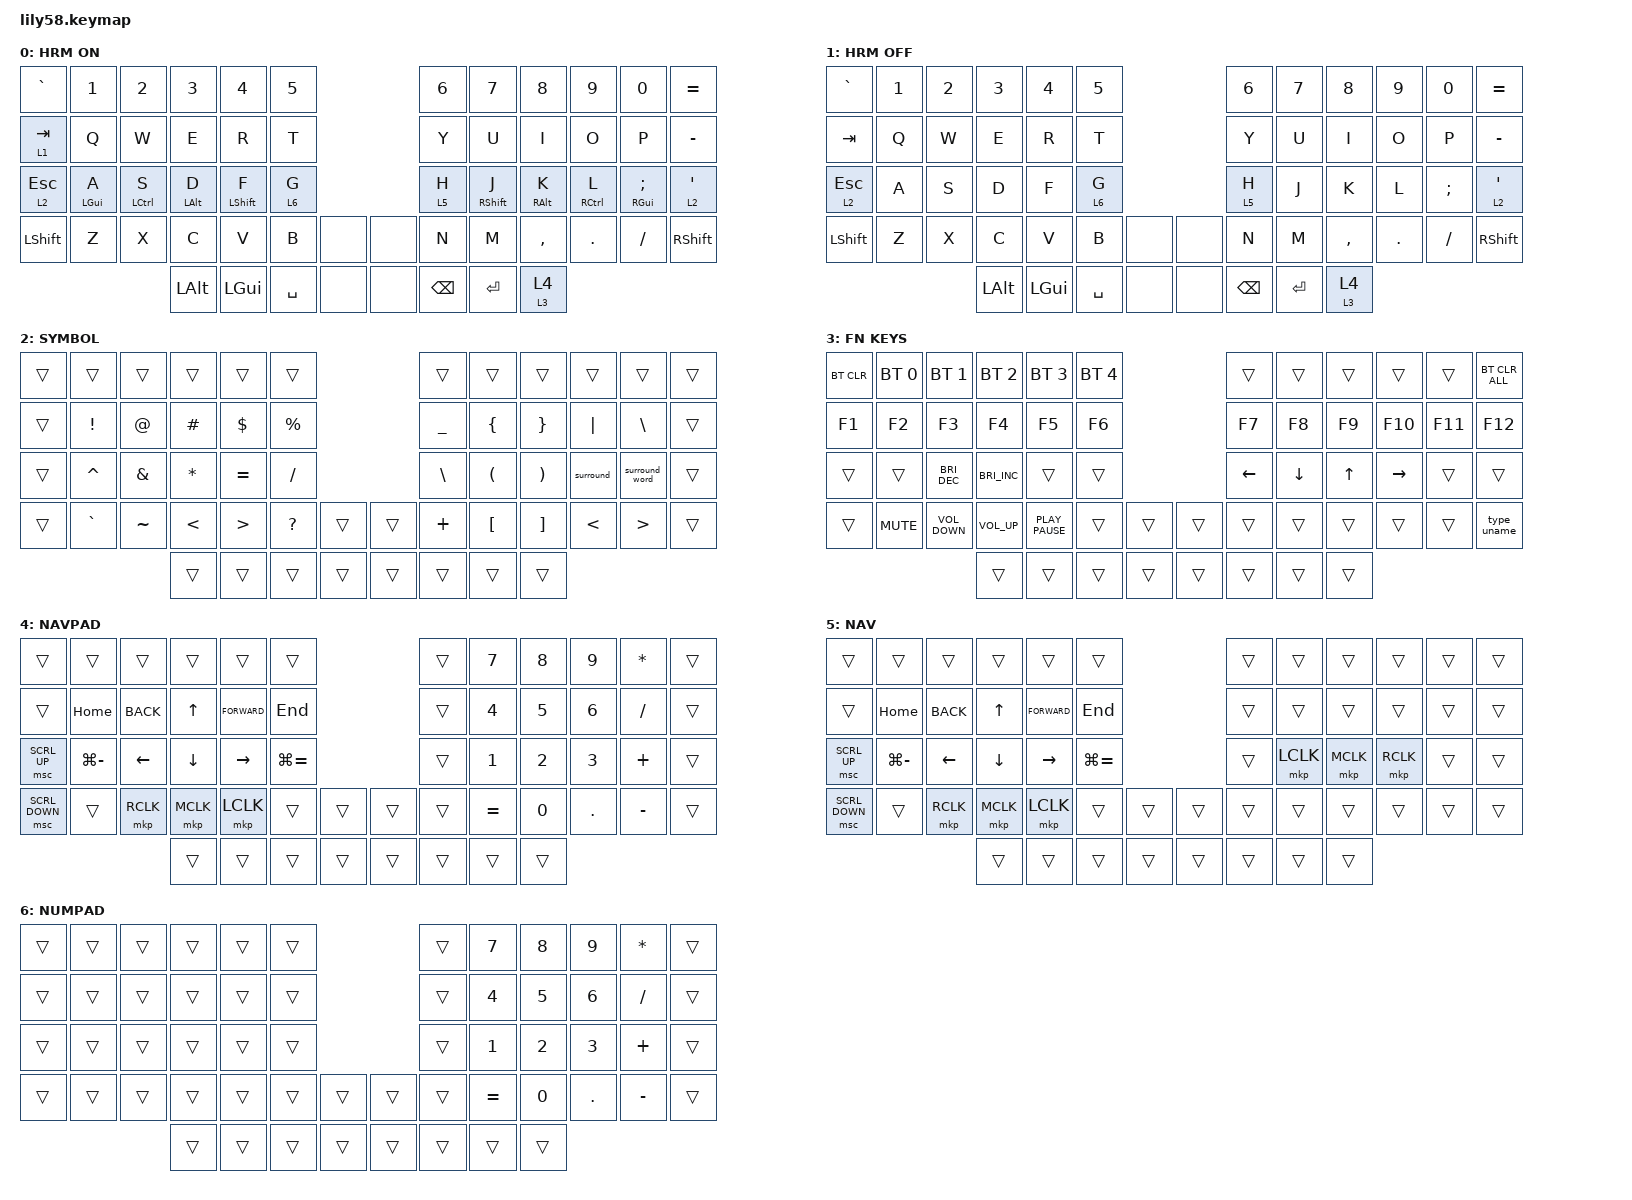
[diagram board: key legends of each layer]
/*
 * Copyright (c) 2020 The ZMK Contributors
 *
 * SPDX-License-Identifier: MIT
 */

#include <behaviors.dtsi>
#include <dt-bindings/zmk/bt.h>
#include <dt-bindings/zmk/keys.h>
#include <dt-bindings/zmk/pointing.h>

&mt {
    tapping-term-ms = <200>;
    flavor = "tap-preferred";
};

/ {
    combos {
        compatible = "zmk,combos";

        HRM_OFF {
            bindings = <&to 1>;
            key-positions = <28 31>;
            layers = <0>;
        };

        HRM_ON {
            bindings = <&to 0>;
            key-positions = <28 31>;
            layers = <1>;
        };
    };

    behaviors {
        hold_tap_mo_to: hold_tap_mo_to {
            compatible = "zmk,behavior-hold-tap";
            label = "HOLD_TAP_MO_TO";
            bindings = <&mo>, <&to>;

            #binding-cells = <2>;
            tapping-term-ms = <150>;
        };

        hold_tap_mo_kp: hold_tap_mo_kp {
            compatible = "zmk,behavior-hold-tap";
            label = "HOLD_TAP_MO_KP";
            bindings = <&mo>, <&kp>;

            #binding-cells = <2>;
            tapping-term-ms = <200>;
            flavor = "tap-preferred";
        };

        hold_tap_mo_tog: hold_tap_mo_tog {
            compatible = "zmk,behavior-hold-tap";
            label = "HOLD_TAP_MO_TOG";
            bindings = <&mo>, <&tog>;

            #binding-cells = <2>;
            tapping-term-ms = <150>;
        };
    };

    macros {
        type_uname: type_uname {
            compatible = "zmk,behavior-macro";
            #binding-cells = <0>;
            bindings = <&kp O &kp T &kp I &kp S &kp MINUS &kp D &kp E &kp L &kp A &kp R &kp G &kp E>;
            label = "TYPE_UNAME";
        };

        surround: surround {
            compatible = "zmk,behavior-macro";
            #binding-cells = <0>;
            bindings = <&kp S &kp A>;
            label = "SURROUND";
        };

        surround_word: surround_word {
            compatible = "zmk,behavior-macro";
            #binding-cells = <0>;
            bindings = <&kp S &kp A &kp I &kp W>;
            label = "SURROUND_WORD";
        };
    };

    keymap {
        compatible = "zmk,keymap";

        base {
            // ------------------------------------------------------------------------------------------------------------
            // |  ESC  |  1  |  2  |  3   |  4   |  5   |                   |  6   |  7    |  8    |  9   |   0   |   `   |
            // |  TAB  |  Q  |  W  |  E   |  R   |  T   |                   |  Y   |  U    |  I    |  O   |   P   |   -   |
            // |  CTRL |  A  |  S  |  D   |  F   |  G   |                   |  H   |  J    |  K    |  L   |   ;   |   '   |
            // | SHIFT |  Z  |  X  |  C   |  V   |  B   |   "["  |  |  "]"  |  N   |  M    |  ,    |  .   |   /   | SHIFT |
            //                     | ALT  | GUI  | LOWER|  SPACE |  | ENTER | RAISE| BSPC  | GUI   |

            display-name = "HRM ON";
            bindings = <
&kp GRAVE              &kp N1          &kp N2       &kp N3          &kp N4            &kp N5                               &kp N6               &kp N7             &kp N8                &kp N9       &kp N0                   &kp EQUAL
&hold_tap_mo_kp 1 TAB  &kp Q           &kp W        &kp E           &kp R             &kp T                                &kp Y                &kp U              &kp I                 &kp O        &kp P                    &kp MINUS
&hold_tap_mo_kp 2 ESC  &mt LEFT_GUI A  &mt LCTRL S  &mt LEFT_ALT D  &mt LEFT_SHIFT F  &hold_tap_mo_kp 6 G                  &hold_tap_mo_kp 5 H  &mt RIGHT_SHIFT J  &mt RIGHT_ALT K       &mt RCTRL L  &mt RIGHT_GUI SEMICOLON  &hold_tap_mo_kp 2 SQT
&kp LSHFT              &kp Z           &kp X        &kp C           &kp V             &kp B                &none    &none  &kp N                &kp M              &kp COMMA             &kp DOT      &kp FSLH                 &kp RSHFT
                                                    &kp LALT        &kp LGUI          &kp SPACE            &none    &none  &kp BACKSPACE        &kp ENTER          &hold_tap_mo_tog 3 4
            >;
        };

        hrm_off {
            display-name = "HRM OFF";
            bindings = <
&kp GRAVE              &kp N1  &kp N2  &kp N3    &kp N4    &kp N5                               &kp N6               &kp N7     &kp N8                &kp N9   &kp N0    &kp EQUAL
&kp TAB                &kp Q   &kp W   &kp E     &kp R     &kp T                                &kp Y                &kp U      &kp I                 &kp O    &kp P     &kp MINUS
&hold_tap_mo_kp 2 ESC  &kp A   &kp S   &kp D     &kp F     &hold_tap_mo_kp 6 G                  &hold_tap_mo_kp 5 H  &kp J      &kp K                 &kp L    &kp SEMI  &hold_tap_mo_kp 2 SQT
&kp LSHFT              &kp Z   &kp X   &kp C     &kp V     &kp B                &none    &none  &kp N                &kp M      &kp COMMA             &kp DOT  &kp FSLH  &kp RSHFT
                                       &kp LALT  &kp LGUI  &kp SPACE            &none    &none  &kp BACKSPACE        &kp ENTER  &hold_tap_mo_tog 3 4
            >;
        };

        symbols {
            bindings = <
&trans  &trans           &trans         &trans         &trans            &trans                          &trans          &trans                &trans                 &trans         &trans            &trans
&trans  &kp EXCLAMATION  &kp AT_SIGN    &kp HASH       &kp DOLLAR        &kp PERCENT                     &kp UNDERSCORE  &kp LEFT_BRACE        &kp RIGHT_BRACE        &kp PIPE       &kp BACKSLASH     &trans
&trans  &kp CARET        &kp AMPERSAND  &kp ASTERISK   &kp EQUAL         &kp SLASH                       &kp BACKSLASH   &kp LEFT_PARENTHESIS  &kp RIGHT_PARENTHESIS  &surround      &surround_word    &trans
&trans  &kp GRAVE        &kp TILDE      &kp LESS_THAN  &kp GREATER_THAN  &kp QUESTION  &trans    &trans  &kp PLUS        &kp LEFT_BRACKET      &kp RIGHT_BRACKET      &kp LESS_THAN  &kp GREATER_THAN  &trans
                                        &trans         &trans            &trans        &trans    &trans  &trans          &trans                &trans
            >;

            label = "SYMBOL";
        };

        fn_keys {
            // ------------------------------------------------------------------------------------------------------------
            // | BTCLR | BT1 | BT2 |  BT3 |  BT4 |  BT5 |                   |      |       |       |      |       |       |
            // |  F1   |  F2 |  F3 |  F4  |  F5  |  F6  |                   |  F7  |  F8   |  F9   |  F10 |  F11  |  F12  |
            // |   `   |  !  |  @  |  #   |  $   |  %   |                   |  ^   |  &    |  *    |  (   |   )   |   ~   |
            // |       |     |     |      |      |      |        |  |       |      |  _    |  +    |  {   |   }   |  "|"  |
            //                     |      |      |      |        |  |       |      |       |       |

            display-name = "FN KEYS";
            bindings = <
&bt BT_CLR  &bt BT_SEL 0  &bt BT_SEL 1          &bt BT_SEL 2          &bt BT_SEL 3      &bt BT_SEL 4                    &trans          &trans          &trans        &trans           &trans   &bt BT_CLR_ALL
&kp F1      &kp F2        &kp F3                &kp F4                &kp F5            &kp F6                          &kp F7          &kp F8          &kp F9        &kp F10          &kp F11  &kp F12
&trans      &trans        &kp C_BRIGHTNESS_DEC  &kp C_BRIGHTNESS_INC  &trans            &trans                          &kp LEFT_ARROW  &kp DOWN_ARROW  &kp UP_ARROW  &kp RIGHT_ARROW  &trans   &trans
&trans      &kp K_MUTE    &kp K_VOLUME_DOWN     &kp K_VOLUME_UP       &kp K_PLAY_PAUSE  &trans        &trans    &trans  &trans          &trans          &trans        &trans           &trans   &type_uname
                                                &trans                &trans            &trans        &trans    &trans  &trans          &trans          &trans
            >;
        };

        nav_pad {
            // ------------------------------------------------------------------------------------------------------------
            // |       |     |     |      |      |      |                   |      |       |       |      |       |       |
            // |   `   |  1  |  2  |  3   |  4   |  5   |                   |  6   |   7   |   8   |  9   |   0   |       |
            // |   F1  |  F2 |  F3 |  F4  |  F5  |  F6  |                   |      |   <-  |   v   |  ^   |  ->   |       |
            // |   F7  |  F8 |  F9 |  F10 |  F11 |  F12 |        |  |       |  +   |   -   |   =   |  [   |   ]   |   \   |
            //                     |      |      |      |        |  |       |      |       |       |

            display-name = "NAVPAD";
            bindings = <
&trans          &trans         &trans          &trans          &trans           &trans                           &trans  &kp N7     &kp N8        &kp N9      &kp ASTERISK  &trans
&trans          &kp HOME       &kp K_BACK      &kp UP_ARROW    &kp K_FORWARD    &kp END                          &trans  &kp N4     &kp N5        &kp N6      &kp SLASH     &trans
&msc SCRL_UP    &kp LG(MINUS)  &kp LEFT_ARROW  &kp DOWN_ARROW  &kp RIGHT_ARROW  &kp LG(EQUAL)                    &trans  &kp N1     &kp N2        &kp N3      &kp PLUS      &trans
&msc SCRL_DOWN  &trans         &mkp RCLK       &mkp MCLK       &mkp LCLK        &trans         &trans    &trans  &trans  &kp EQUAL  &kp NUMBER_0  &kp PERIOD  &kp MINUS     &trans
                                               &trans          &trans           &trans         &trans    &trans  &trans  &trans     &trans
            >;
        };

        nav {
            bindings = <
&trans          &trans         &trans      &trans     &trans         &trans                           &trans  &trans     &trans     &trans     &trans  &trans
&trans          &kp HOME       &kp K_BACK  &kp UP     &kp K_FORWARD  &kp END                          &trans  &trans     &trans     &trans     &trans  &trans
&msc SCRL_UP    &kp LG(MINUS)  &kp LEFT    &kp DOWN   &kp RIGHT      &kp LG(EQUAL)                    &trans  &mkp LCLK  &mkp MCLK  &mkp RCLK  &trans  &trans
&msc SCRL_DOWN  &trans         &mkp RCLK   &mkp MCLK  &mkp LCLK      &trans         &trans    &trans  &trans  &trans     &trans     &trans     &trans  &trans
                                           &trans     &trans         &trans         &trans    &trans  &trans  &trans     &trans
            >;

            label = "NAV";
        };

        numpad {
            display-name = "NUMPAD";
            bindings = <
&trans  &trans  &trans  &trans  &trans  &trans                    &trans  &kp N7     &kp N8        &kp N9      &kp ASTERISK  &trans
&trans  &trans  &trans  &trans  &trans  &trans                    &trans  &kp N4     &kp N5        &kp N6      &kp SLASH     &trans
&trans  &trans  &trans  &trans  &trans  &trans                    &trans  &kp N1     &kp N2        &kp N3      &kp PLUS      &trans
&trans  &trans  &trans  &trans  &trans  &trans  &trans    &trans  &trans  &kp EQUAL  &kp NUMBER_0  &kp PERIOD  &kp MINUS     &trans
                        &trans  &trans  &trans  &trans    &trans  &trans  &trans     &trans
            >;
        };
    };
};
